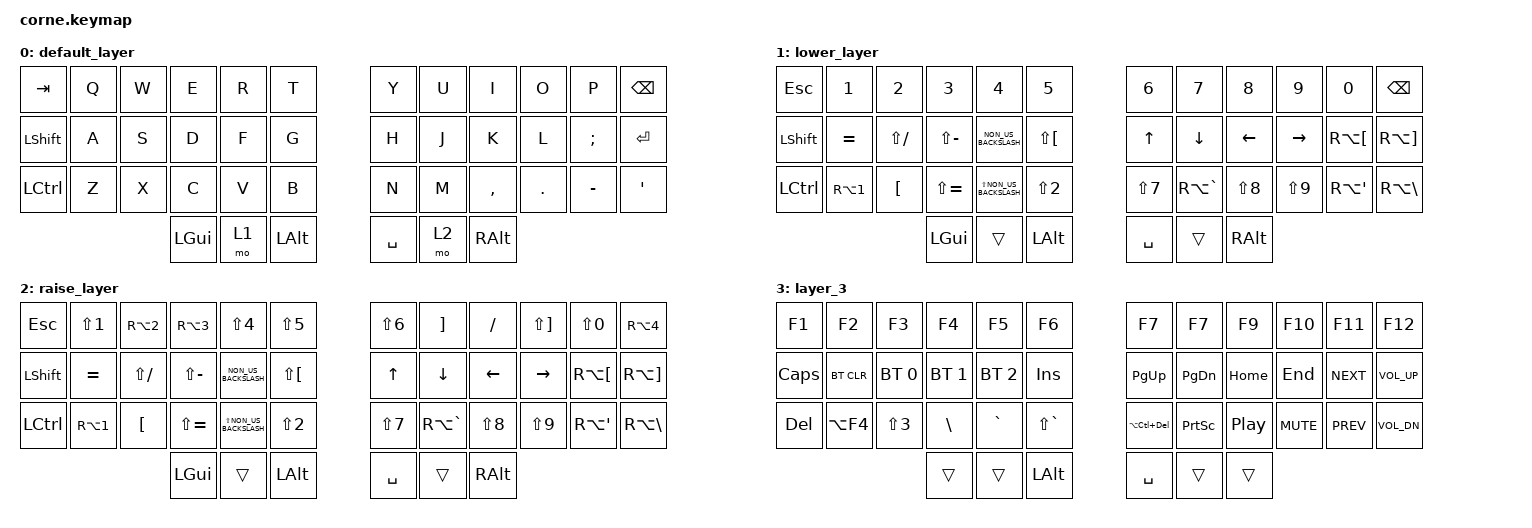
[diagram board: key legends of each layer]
/*
 * Copyright (c) 2020 The ZMK Contributors
 *
 * SPDX-License-Identifier: MIT
 */

#include <behaviors.dtsi>
#include <dt-bindings/zmk/bt.h>
#include <dt-bindings/zmk/keys.h>

/ {
    combos { compatible = "zmk,combos"; };

    keymap {
        compatible = "zmk,keymap";

        default_layer {
            // -----------------------------------------------------------------------------------------
            // |  TAB |  Q  |  W  |  E  |  R  |  T  |   |  Y  |  U   |  I  |  O  |  P  | BKSP |
            // | CTRL |  A  |  S  |  D  |  F  |  G  |   |  H  |  J   |  K  |  L  |  ;  |  '   |
            // | SHFT |  Z  |  X  |  C  |  V  |  B  |   |  N  |  M   |  ,  |  .  |  /  | ESC  |
            //                    | GUI | LWR | SPC |   | ENT | RSE  | ALT |

            bindings = <
&kp TAB           &kp Q  &kp W  &kp E     &kp R  &kp T           &kp Y      &kp U  &kp I      &kp O    &kp P      &kp BSPC
&kp LEFT_SHIFT    &kp A  &kp S  &kp D     &kp F  &kp G           &kp H      &kp J  &kp K      &kp L    &kp SEMI   &kp ENTER
&kp LEFT_CONTROL  &kp Z  &kp X  &kp C     &kp V  &kp B           &kp N      &kp M  &kp COMMA  &kp DOT  &kp MINUS  &kp SQT
                                &kp LGUI  &mo 1  &kp LEFT_ALT    &kp SPACE  &mo 2  &kp RALT
            >;
        };

        lower_layer {
            // -----------------------------------------------------------------------------------------
            // |  TAB |  1  |  2  |  3  |  4  |  5  |   |  6  |  7  |  8  |  9  |  0  | BKSP |
            // | BTCLR| BT1 | BT2 | BT3 | BT4 | BT5 |   | LFT | DWN |  UP | RGT |     |      |
            // | SHFT |     |     |     |     |     |   |     |     |     |     |     |      |
            //                    | GUI |     | SPC |   | ENT |     | ALT |

            bindings = <
&kp ESCAPE        &kp N1            &kp N2            &kp N3         &kp N4                    &kp N5                  &kp N6            &kp N7         &kp N8          &kp N9      &kp N0                &kp BSPC
&kp LEFT_SHIFT    &kp EQUAL         &kp LS(SLASH)     &kp LS(MINUS)  &kp NON_US_BACKSLASH      &kp LS(LEFT_BRACKET)    &kp UP_ARROW      &kp DOWN       &kp LEFT_ARROW  &kp RIGHT   &kp RA(LEFT_BRACKET)  &kp RA(RBKT)
&kp LEFT_CONTROL  &kp RA(NUMBER_1)  &kp LEFT_BRACKET  &kp LS(EQUAL)  &kp LS(NON_US_BACKSLASH)  &kp LS(NUMBER_2)        &kp LS(NUMBER_7)  &kp RA(GRAVE)  &kp LS(N8)      &kp LS(N9)  &kp RA(SQT)           &kp RA(BACKSLASH)
                                                      &kp LGUI       &trans                    &kp LEFT_ALT            &kp SPACE         &trans         &kp RALT
            >;
        };

        raise_layer {
            // -----------------------------------------------------------------------------------------
            // |  TAB |  !  |  @  |  #  |  $  |  %  |   |  ^  |  &  |  *  |  (  |  )  | BKSP |
            // | CTRL |     |     |     |     |     |   |  -  |  =  |  [  |  ]  |  \  |  `   |
            // | SHFT |     |     |     |     |     |   |  _  |  +  |  {  |  }  | "|" |  ~   |
            //                    | GUI |     | SPC |   | ENT |     | ALT |

            bindings = <
&kp ESCAPE        &kp LS(NUMBER_1)  &kp RA(NUMBER_2)  &kp RA(NUMBER_3)  &kp LS(NUMBER_4)          &kp LS(N5)              &kp LS(NUMBER_6)  &kp RIGHT_BRACKET  &kp SLASH       &kp LS(RIGHT_BRACKET)  &kp LS(N0)            &kp RA(NUMBER_4)
&kp LEFT_SHIFT    &kp EQUAL         &kp LS(SLASH)     &kp LS(MINUS)     &kp NON_US_BACKSLASH      &kp LS(LEFT_BRACKET)    &kp UP_ARROW      &kp DOWN_ARROW     &kp LEFT_ARROW  &kp RIGHT              &kp RA(LEFT_BRACKET)  &kp RA(RIGHT_BRACKET)
&kp LEFT_CONTROL  &kp RA(NUMBER_1)  &kp LEFT_BRACKET  &kp LS(EQUAL)     &kp LS(NON_US_BACKSLASH)  &kp LS(NUMBER_2)        &kp LS(N7)        &kp RA(GRAVE)      &kp LS(N8)      &kp LS(N9)             &kp RA(SQT)           &kp RA(BACKSLASH)
                                                      &kp LGUI          &trans                    &kp LEFT_ALT            &kp SPACE         &trans             &kp RALT
            >;
        };

        layer_3 {
            bindings = <
&kp F1        &kp F2      &kp F3            &kp F4         &kp F5        &kp F6           &kp F7              &kp F7           &kp F9    &kp F10     &kp F11     &kp F12
&kp CAPSLOCK  &bt BT_CLR  &bt BT_SEL 0      &bt BT_SEL 1   &bt BT_SEL 2  &kp INSERT       &kp PAGE_UP         &kp PAGE_DOWN    &kp HOME  &kp END     &kp C_NEXT  &kp C_VOLUME_UP
&kp DEL       &kp LA(F4)  &kp LS(NUMBER_3)  &kp BACKSLASH  &kp GRAVE     &kp LS(GRAVE)    &kp LA(LC(DELETE))  &kp PRINTSCREEN  &kp C_PP  &kp C_MUTE  &kp C_PREV  &kp C_VOL_DN
                                            &trans         &trans        &kp LEFT_ALT     &kp SPACE           &trans           &trans
            >;
        };
    };

    conditional_layers {
        compatible = "zmk,conditional-layers";

        TriLayer {
            if-layers = <1 2>;
            then-layer = <3>;
        };
    };
};
